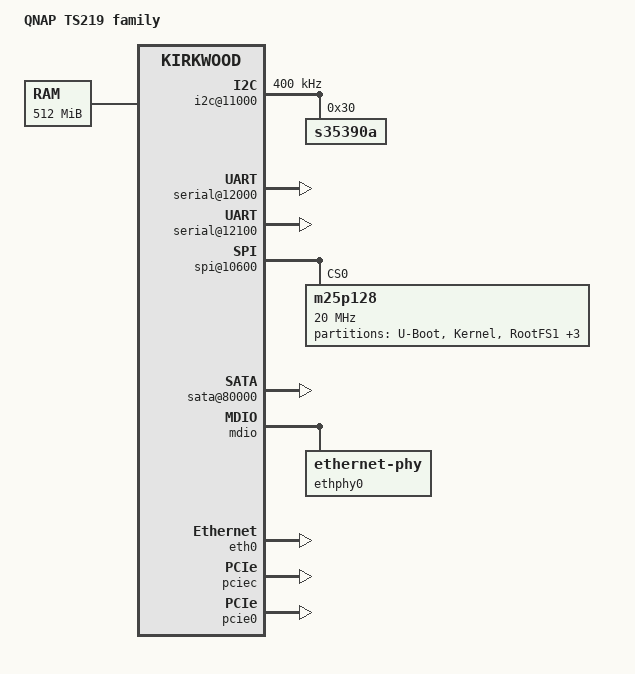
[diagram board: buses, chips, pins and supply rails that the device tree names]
/ {
	model = "QNAP TS219 family";
	compatible = "qnap,ts219", "marvell,kirkwood";

	memory {
		device_type = "memory";
		reg = <0x00000000 0x20000000>;
	};

	chosen {
		bootargs = "console=ttyS0,115200n8";
		stdout-path = &uart0;
	};

	ocp@f1000000 {
		i2c@11000 {
			status = "okay";
			clock-frequency = <400000>;

			s35390a: s35390a@30 {
				compatible = "s35390a";
				reg = <0x30>;
			};
		};
		serial@12000 {
			status = "okay";
		};
		serial@12100 {
			status = "okay";
		};
		poweroff@12100 {
			compatible = "qnap,power-off";
			reg = <0x12100 0x100>;
			clocks = <&gate_clk 7>;
		};
		spi@10600 {
			status = "okay";

			m25p128@0 {
				#address-cells = <1>;
				#size-cells = <1>;
				compatible = "m25p128", "jedec,spi-nor";
				reg = <0>;
				spi-max-frequency = <20000000>;
				mode = <0>;

				partition@0000000 {
					reg = <0x00000000 0x00080000>;
					label = "U-Boot";
				};

				partition@00200000 {
					reg = <0x00200000 0x00200000>;
					label = "Kernel";
				};

				partition@00400000 {
					reg = <0x00400000 0x00900000>;
					label = "RootFS1";
				};
				partition@00d00000 {
					reg = <0x00d00000 0x00300000>;
					label = "RootFS2";
				};
				partition@00040000 {
					reg = <0x00080000 0x00040000>;
					label = "U-Boot Config";
				};
				partition@000c0000 {
					reg = <0x000c0000 0x00140000>;
					label = "NAS Config";
				};
			};
		};
		sata@80000 {
			pinctrl-0 = <&pmx_sata0 &pmx_sata1>;
			pinctrl-names = "default";
			status = "okay";
			nr-ports = <2>;
		};
	};
};

&mdio {
	status = "okay";

	ethphy0: ethernet-phy@X {
                /* overwrite reg property in board file */
	};
};

&eth0 {
	status = "okay";
	ethernet0-port@0 {
		phy-handle = <&ethphy0>;
	};
};

&pciec {
        status = "okay";
};

&pcie0 {
	status = "okay";
};
